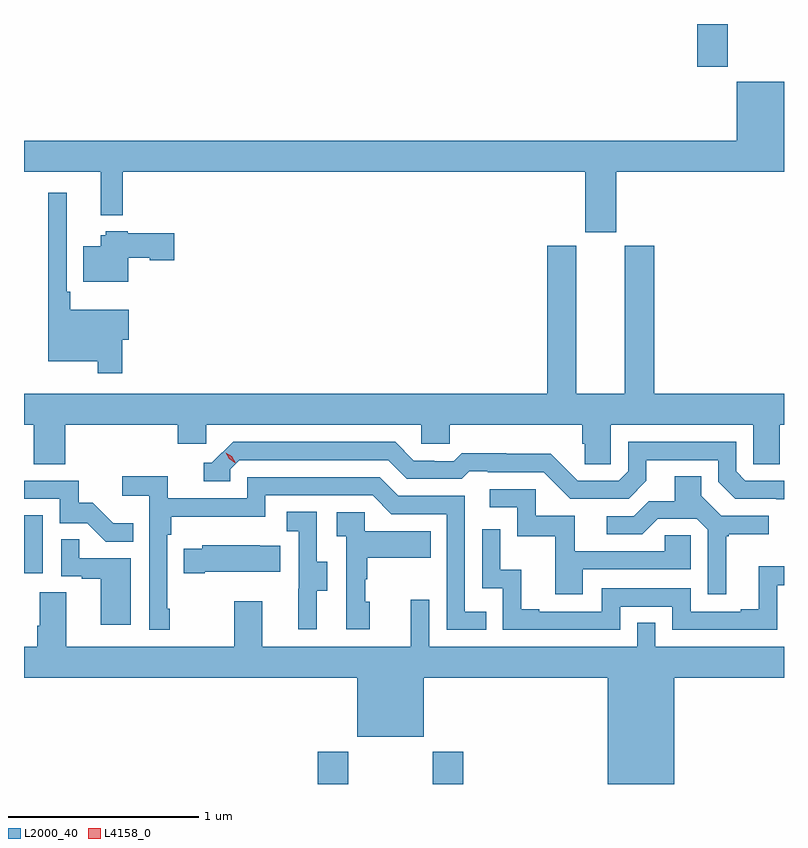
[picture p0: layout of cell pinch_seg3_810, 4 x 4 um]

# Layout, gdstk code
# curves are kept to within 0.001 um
import gdstk
lib = gdstk.Library(unit=1e-6, precision=1e-09)
def R(c, l, rs):  # rectangles x0, y0, x1, y1
    for r in rs: c.add(gdstk.rectangle(r[:2], r[2:], *l))
def P(c, l, *ps):  # polygons
    for p in ps: c.add(gdstk.Polygon(p, *l))
L2000_40 = (2000, 40)
L4158_0 = (4158, 0)

pinch_seg3_810 = lib.new_cell('pinch_seg3_810')
R(pinch_seg3_810, L2000_40, [(833.819,723.002,833.979,723.172), (834.424,723.002,834.584,723.172), (832.273,724.11,832.372,724.417), (835.817,726.777,835.977,727.002)])
P(pinch_seg3_810, L2000_40, [(835.39,726.224),(836.273,726.224),(836.273,726.697),(836.024,726.697),(836.024,726.388),(832.273,726.388),(832.273,726.224),(832.676,726.224),(832.676,725.996),(832.793,725.996),(832.793,726.224),(835.226,726.224),(835.226,725.907),(835.39,725.907)],
  [(832.79,725.339),(832.825,725.339),(832.825,725.497),(832.517,725.497),(832.517,725.593),(832.497,725.593),(832.497,726.115),(832.4,726.115),(832.4,725.228),(832.662,725.228),(832.662,725.163),(832.79,725.163)],
  [(832.822,725.771),(832.935,725.771),(832.935,725.759),(833.065,725.759),(833.065,725.901),(832.818,725.901),(832.818,725.911),(832.704,725.911),(832.704,725.889),(832.676,725.889),(832.676,725.833),(832.586,725.833),(832.586,725.645),(832.822,725.645)],
  [(832.273,724.892),(832.325,724.892),(832.325,724.684),(832.49,724.684),(832.49,724.892),(833.081,724.892),(833.081,724.794),(833.232,724.794),(833.232,724.892),(834.363,724.892),(834.363,724.794),(834.513,724.794),(834.513,724.892),(835.211,724.892),(835.211,724.794),(835.225,724.794),(835.225,724.684),(835.362,724.684),(835.362,724.892),(836.112,724.892),(836.112,724.684),(836.251,724.684),(836.251,724.892),(836.273,724.892),(836.273,725.056),(835.589,725.056),(835.589,725.835),(835.436,725.835),(835.436,725.056),(835.18,725.056),(835.18,725.835),(835.028,725.835),(835.028,725.056),(832.273,725.056)],
  [(836.273,724.599),(836.07,724.599),(836.022,724.647),(836.022,724.803),(835.452,724.803),(835.452,724.647),(835.404,724.599),(835.188,724.599),(835.046,724.741),(834.81,724.741),(834.81,724.744),(834.577,724.744),(834.535,724.701),(834.432,724.701),(834.432,724.704),(834.325,724.704),(834.226,724.803),(833.373,724.803),(833.262,724.692),(833.219,724.692),(833.219,724.596),(833.358,724.596),(833.358,724.659),(833.406,724.707),(834.189,724.707),(834.288,724.608),(834.577,724.608),(834.616,724.647),(834.715,724.647),(834.715,724.644),(835.008,724.644),(835.149,724.503),(835.455,724.503),(835.549,724.597),(835.549,724.707),(835.926,724.707),(835.926,724.593),(836.016,724.503),(836.273,724.502)],
  [(835.969,724.305),(835.981,724.305),(835.981,724.316),(836.194,724.316),(836.194,724.413),(835.944,724.413),(835.837,724.52),(835.837,724.622),(835.697,724.622),(835.697,724.49),(835.562,724.49),(835.482,724.41),(835.341,724.41),(835.341,724.317),(835.528,724.317),(835.609,724.398),(835.815,724.398),(835.872,724.341),(835.872,724.002),(835.969,724.002)],
  [(833.041,723.925),(833.028,723.925),(833.028,724.313),(833.048,724.313),(833.048,724.409),(833.544,724.409),(833.544,724.521),(834.108,724.521),(834.207,724.422),(834.498,724.422),(834.498,723.813),(834.707,723.813),(834.707,723.909),(834.594,723.909),(834.594,724.518),(834.244,724.518),(834.145,724.617),(833.448,724.617),(833.448,724.506),(833.03,724.506),(833.03,724.622),(832.791,724.622),(832.791,724.52),(832.932,724.52),(832.932,723.813),(833.041,723.813)],
  [(832.847,724.375),(832.743,724.375),(832.636,724.482),(832.56,724.482),(832.56,724.599),(832.273,724.599),(832.273,724.503),(832.461,724.503),(832.461,724.374),(832.605,724.374),(832.703,724.276),(832.847,724.276)],
  [(835.213,724.131),(835.782,724.131),(835.782,724.311),(835.645,724.311),(835.645,724.227),(835.171,724.227),(835.171,724.413),(834.966,724.413),(834.966,724.554),(834.723,724.554),(834.723,724.458),(834.87,724.458),(834.87,724.305),(835.069,724.305),(835.069,724.002),(835.213,724.002)],
  [(833.815,724.018),(833.869,724.018),(833.869,724.173),(833.814,724.173),(833.814,724.436),(833.655,724.436),(833.655,724.333),(833.718,724.333),(833.718,724.029),(833.717,724.029),(833.717,723.816),(833.815,723.816)],
  [(834.094,723.96),(834.069,723.96),(834.069,724.079),(834.079,724.079),(834.079,724.193),(834.413,724.193),(834.413,724.333),(834.066,724.333),(834.066,724.431),(833.919,724.431),(833.919,724.307),(833.97,724.307),(833.97,723.816),(834.094,723.816)],
  [(835.41,723.936),(835.686,723.936),(835.686,723.813),(836.238,723.813),(836.238,724.049),(836.273,724.049),(836.273,724.147),(836.141,724.147),(836.141,723.922),(836.045,723.922),(836.045,723.909),(835.782,723.909),(835.782,724.032),(835.314,724.032),(835.314,723.909),(834.985,723.909),(834.985,723.922),(834.89,723.922),(834.89,724.13),(834.78,724.13),(834.78,724.342),(834.684,724.342),(834.684,724.032),(834.792,724.032),(834.792,723.813),(835.41,723.813)],
  [(832.834,724.191),(832.565,724.191),(832.565,724.289),(832.47,724.289),(832.47,724.095),(832.577,724.095),(832.577,724.083),(832.676,724.083),(832.676,723.84),(832.834,723.84)],
  [(833.224,724.118),(833.621,724.118),(833.621,724.255),(833.513,724.255),(833.513,724.258),(833.211,724.258),(833.211,724.24),(833.113,724.24),(833.113,724.111),(833.224,724.111)],
  [(835.5,723.851),(835.5,723.724),(834.405,723.724),(834.405,723.973),(834.308,723.973),(834.308,723.724),(833.527,723.724),(833.527,723.964),(833.38,723.964),(833.38,723.724),(832.495,723.724),(832.495,724.01),(832.355,724.01),(832.355,723.836),(832.343,723.836),(832.343,723.724),(832.273,723.724),(832.273,723.56),(834.026,723.56),(834.026,723.251),(834.376,723.251),(834.376,723.56),(835.346,723.56),(835.346,723.002),(835.696,723.002),(835.696,723.56),(836.273,723.56),(836.273,723.724),(835.596,723.724),(835.596,723.851)])
P(pinch_seg3_810, L4158_0, [(833.383,724.694),(833.353,724.714),(833.336,724.746),(833.336,724.746),(833.336,724.746),(833.367,724.727),(833.384,724.695),(833.384,724.694)])

lib.write_gds('pinch_seg3_810.gds')
